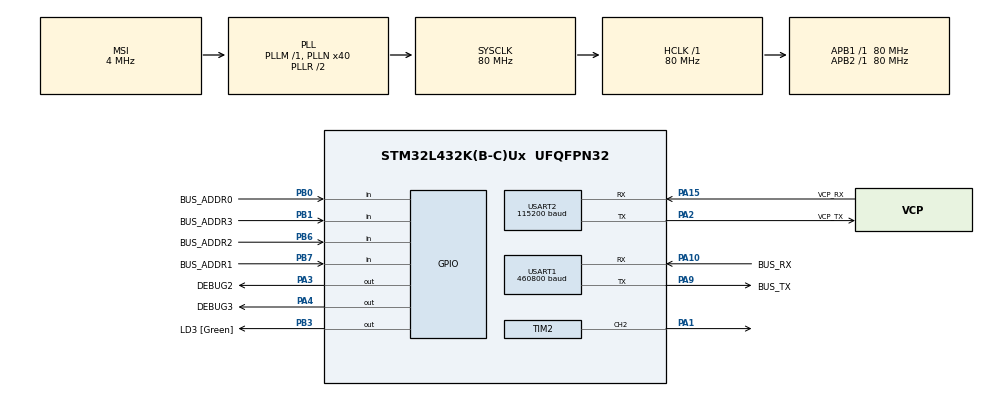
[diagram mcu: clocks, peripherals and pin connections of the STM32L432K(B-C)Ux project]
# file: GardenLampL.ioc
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Mcu.Family=STM32L4
RCC.CortexFreq_Value=80000000
PB6.GPIO_Mode=GPIO_MODE_INPUT
USART1.BaudRate=460800
PA0.GPIO_Label=MCO [High speed clock in]
PB0.GPIO_Label=BUS_ADDR0
PB6.GPIO_Label=BUS_ADDR2
PA15\ (JTDI).Signal=USART2_RX
PC15-OSC32_OUT\ (PC15).Mode=LSE-External-Oscillator
TIM2.Channel-PWM\ Generation2\ CH2=TIM_CHANNEL_2
RCC.SYSCLKSource=RCC_SYSCLKSOURCE_PLLCLK
ProjectManager.StackSize=0x400
PB3\ (JTDO-TRACESWO).Signal=GPIO_Output
PC14-OSC32_IN\ (PC14).Mode=LSE-External-Oscillator
PA14\ (JTCK-SWCLK).Signal=SYS_JTCK-SWCLK
Dma.TIM2_CH2/CH4.1.Direction=DMA_MEMORY_TO_PERIPH
PB7.GPIO_Mode=GPIO_MODE_INPUT
PA15\ (JTDI).Mode=Asynchronous
PB1.GPIO_PuPd=GPIO_PULLUP
RCC.HCLKFreq_Value=80000000
RCC.APB2TimFreq_Value=80000000
PB6.Signal=GPIO_Input
Dma.TIM2_CH2/CH4.1.PeriphInc=DMA_PINC_DISABLE
PA1.GPIO_PuPd=GPIO_PULLDOWN
RCC.AHBFreq_Value=80000000
Dma.USART1_RX.0.Priority=DMA_PRIORITY_LOW
RCC.HSE_VALUE=8000000
USART2.VirtualMode-Asynchronous=VM_ASYNC
RCC.PLLMUL=RCC_PLLMUL_4
PB1.GPIO_Label=BUS_ADDR3
PA10.GPIO_Label=BUS_RX
PA0.Mode=HSE-External-Clock-Source-for-LittleOrca
PB7.Signal=GPIO_Input
Dma.USART1_RX.0.MemInc=DMA_MINC_ENABLE
PA0.Signal=RCC_CK_IN
PB7.GPIO_Label=BUS_ADDR1
Mcu.Package=UFQFPN32
PB1.Signal=GPIO_Input
Dma.TIM2_CH2/CH4.1.MemInc=DMA_MINC_ENABLE
PB0.GPIO_Mode=GPIO_MODE_INPUT
PA2.GPIO_Label=VCP_TX
PA10.Signal=USART1_RX
Dma.TIM2_CH2/CH4.1.Instance=DMA1_Channel7
Dma.Request1=TIM2_CH2/CH4
RCC.APB1TimFreq_Value=80000000
Dma.USART1_RX.0.Mode=DMA_NORMAL
PA13\ (JTMS-SWDIO).Signal=SYS_JTMS-SWDIO
NVIC.USART1_IRQn=true\:2\:0\:true\:false\:true\:true\:true
Dma.Request0=USART1_RX
PA4.GPIO_Label=DEBUG3
Dma.USART1_RX.0.Instance=DMA2_Channel7
RCC.HSI48_VALUE=48000000
PA3.Signal=GPIO_Output
RCC.MSI_VALUE=4000000
PB7.GPIO_PuPd=GPIO_PULLUP
PA14\ (JTCK-SWCLK).Mode=Serial_Wire
Dma.USART1_RX.0.PeriphDataAlignment=DMA_PDATAALIGN_BYTE
TIM2.CounterMode=TIM_COUNTERMODE_UP
PA10.Mode=Asynchronous
PA9.GPIO_Label=BUS_TX
PB6.GPIO_PuPd=GPIO_PULLUP
PC15-OSC32_OUT\ (PC15).Signal=RCC_OSC32_OUT
Dma.TIM2_CH2/CH4.1.PeriphDataAlignment=DMA_PDATAALIGN_WORD
PA14\ (JTCK-SWCLK).GPIO_Label=SWCLK
PB3\ (JTDO-TRACESWO).GPIO_Label=LD3 [Green]
Dma.TIM2_CH2/CH4.1.MemDataAlignment=DMA_MDATAALIGN_BYTE
NVIC.USART2_IRQn=true\:5\:0\:true\:false\:true\:true\:true
USART2.BaudRate=115200
Dma.TIM2_CH2/CH4.1.Priority=DMA_PRIORITY_LOW
USART1.VirtualMode-Asynchronous=VM_ASYNC
RCC.HSI16_VALUE=16000000
SH.S_TIM2_CH2.0=TIM2_CH2,PWM Generation2 CH2
PA9.Mode=Asynchronous
ProjectManager.TargetToolchain=STM32CubeIDE
Dma.USART1_RX.0.Direction=DMA_PERIPH_TO_MEMORY
PB1.GPIO_Mode=GPIO_MODE_INPUT
PA9.Signal=USART1_TX
PA1.Signal=S_TIM2_CH2
Dma.USART1_RX.0.PeriphInc=DMA_PINC_DISABLE
board=NUCLEO-L432KC
RCC.VCOOutputFreq_Value=160000000
RCC.APB2Freq_Value=80000000
PA13\ (JTMS-SWDIO).GPIO_Label=SWDIO
VP_TIM2_VS_ClockSourceINT.Mode=Internal
PA1.GPIO_Speed=GPIO_SPEED_FREQ_MEDIUM
Dma.USART1_RX.0.MemDataAlignment=DMA_MDATAALIGN_BYTE
TIM2.Period=99
PA15\ (JTDI).GPIO_Label=VCP_RX
Dma.TIM2_CH2/CH4.1.Mode=DMA_CIRCULAR
Mcu.Name=STM32L432K(B-C)Ux
PA2.Signal=USART2_TX
PA13\ (JTMS-SWDIO).Mode=Serial_Wire
PA4.Signal=GPIO_Output
RCC.SYSCLKFreq_VALUE=80000000
PC14-OSC32_IN\ (PC14).Signal=RCC_OSC32_IN
ProjectManager.HeapSize=0x200
NVIC.DMA2_Channel7_IRQn=true\:0\:0\:false\:false\:true\:false\:true
RCC.HSI_VALUE=16000000
NVIC.PriorityGroup=NVIC_PRIORITYGROUP_4
RCC.PLLN=40
PA2.Mode=Asynchronous
NVIC.DMA1_Channel7_IRQn=true\:0\:0\:false\:false\:true\:false\:true
RCC.APB1Freq_Value=80000000
PB0.Signal=GPIO_Input
PB0.GPIO_PuPd=GPIO_PULLUP
PA3.GPIO_Label=DEBUG2

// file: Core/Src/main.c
/* USER CODE BEGIN Header */
/**
  ******************************************************************************
  * @file           : main.c
  * @brief          : Main program body
  ******************************************************************************
  * @attention
  *
  * <h2><center>&copy; Copyright (c) 2021 STMicroelectronics.
  * All rights reserved.</center></h2>
  *
  * This software component is licensed by ST under BSD 3-Clause license,
  * the "License"; You may not use this file except in compliance with the
  * License. You may obtain a copy of the License at:
  *                        opensource.org/licenses/BSD-3-Clause
  *
  ******************************************************************************
  */
/* USER CODE END Header */
#include "main.h"
#include "dma.h"
#include "tim.h"
#include "usart.h"
#include "gpio.h"

/* USER CODE BEGIN Includes */
#include <stdio.h>
#include "App.hpp"
#include "Uart_fifo/UartTxFifo.h"

/* USER CODE END Includes */

void SystemClock_Config(void);

int main(void)
{

  /* MCU Configuration--------------------------------------------------------*/

  /* Reset of all peripherals, Initializes the Flash interface and the Systick. */
  HAL_Init();

  /* Configure the system clock */
  SystemClock_Config();

  /* Initialize all configured peripherals */
  MX_GPIO_Init();
  MX_DMA_Init();
  MX_USART2_UART_Init();
  MX_USART1_UART_Init();
  MX_TIM2_Init();
  /* USER CODE BEGIN 2 */
  USER_UART_Init();

  App();
  /* USER CODE END 2 */

  /* Infinite loop */
  while (1)
  {

  }
}

void SystemClock_Config(void)
{
  RCC_OscInitTypeDef RCC_OscInitStruct = {0};
  RCC_ClkInitTypeDef RCC_ClkInitStruct = {0};
  RCC_PeriphCLKInitTypeDef PeriphClkInit = {0};

  /** Configure LSE Drive Capability
  */
  HAL_PWR_EnableBkUpAccess();
  __HAL_RCC_LSEDRIVE_CONFIG(RCC_LSEDRIVE_LOW);
  /** Initializes the RCC Oscillators according to the specified parameters
  * in the RCC_OscInitTypeDef structure.
  */
  RCC_OscInitStruct.OscillatorType = RCC_OSCILLATORTYPE_LSE|RCC_OSCILLATORTYPE_MSI;
  RCC_OscInitStruct.LSEState = RCC_LSE_ON;
  RCC_OscInitStruct.MSIState = RCC_MSI_ON;
  RCC_OscInitStruct.MSICalibrationValue = 0;
  RCC_OscInitStruct.MSIClockRange = RCC_MSIRANGE_6;
  RCC_OscInitStruct.PLL.PLLState = RCC_PLL_ON;
  RCC_OscInitStruct.PLL.PLLSource = RCC_PLLSOURCE_MSI;
  RCC_OscInitStruct.PLL.PLLM = 1;
  RCC_OscInitStruct.PLL.PLLN = 40;
  RCC_OscInitStruct.PLL.PLLP = RCC_PLLP_DIV7;
  RCC_OscInitStruct.PLL.PLLQ = RCC_PLLQ_DIV2;
  RCC_OscInitStruct.PLL.PLLR = RCC_PLLR_DIV2;
  if (HAL_RCC_OscConfig(&RCC_OscInitStruct) != HAL_OK)
  {
    Error_Handler();
  }
  /** Initializes the CPU, AHB and APB buses clocks
  */
  RCC_ClkInitStruct.ClockType = RCC_CLOCKTYPE_HCLK|RCC_CLOCKTYPE_SYSCLK
                              |RCC_CLOCKTYPE_PCLK1|RCC_CLOCKTYPE_PCLK2;
  RCC_ClkInitStruct.SYSCLKSource = RCC_SYSCLKSOURCE_PLLCLK;
  RCC_ClkInitStruct.AHBCLKDivider = RCC_SYSCLK_DIV1;
  RCC_ClkInitStruct.APB1CLKDivider = RCC_HCLK_DIV1;
  RCC_ClkInitStruct.APB2CLKDivider = RCC_HCLK_DIV1;

  if (HAL_RCC_ClockConfig(&RCC_ClkInitStruct, FLASH_LATENCY_4) != HAL_OK)
  {
    Error_Handler();
  }
  PeriphClkInit.PeriphClockSelection = RCC_PERIPHCLK_USART1|RCC_PERIPHCLK_USART2;
  PeriphClkInit.Usart1ClockSelection = RCC_USART1CLKSOURCE_PCLK2;
  PeriphClkInit.Usart2ClockSelection = RCC_USART2CLKSOURCE_PCLK1;
  if (HAL_RCCEx_PeriphCLKConfig(&PeriphClkInit) != HAL_OK)
  {
    Error_Handler();
  }
  /** Configure the main internal regulator output voltage
  */
  if (HAL_PWREx_ControlVoltageScaling(PWR_REGULATOR_VOLTAGE_SCALE1) != HAL_OK)
  {
    Error_Handler();
  }
  /** Enable MSI Auto calibration
  */
  HAL_RCCEx_EnableMSIPLLMode();
}

/* USER CODE BEGIN 4 */
void HAL_UART_RxCpltCallback(UART_HandleTypeDef *huart)
{
    if (huart->Instance == USART1)
    {
        extern void BUS_UART_RxCpltCallback(UART_HandleTypeDef *huart);
        BUS_UART_RxCpltCallback(huart);
    }
    else if(huart->Instance == USART2)
    {
    }
}

void HAL_UART_TxCpltCallback(UART_HandleTypeDef *huart)
{
  if (huart->Instance == USART2)
  {
	  UartTxFifo_hal_cb(&debugLogTx);
  }
}
/* USER CODE END 4 */

void Error_Handler(void)
{
  /* USER CODE BEGIN Error_Handler_Debug */
  /* User can add his own implementation to report the HAL error return state */
	HAL_NVIC_SystemReset();
  while (1)
  {
  }
  /* USER CODE END Error_Handler_Debug */
}

#ifdef  USE_FULL_ASSERT
/**
  * @brief  Reports the name of the source file and the source line number
  *         where the assert_param error has occurred.
  * @param  file: pointer to the source file name
  * @param  line: assert_param error line source number
  * @retval None
  */
void assert_failed(uint8_t *file, uint32_t line)
{
  /* USER CODE BEGIN 6 */
  /* User can add his own implementation to report the file name and line number,
     ex: printf("Wrong parameters value: file %s on line %d\r\n", file, line) */
	printf("Wrong parameters value: file %s on line %lu\r\n", file, line);
	Error_Handler();
  /* USER CODE END 6 */
}
#endif /* USE_FULL_ASSERT */

/************************ (C) COPYRIGHT STMicroelectronics *****END OF FILE****/
